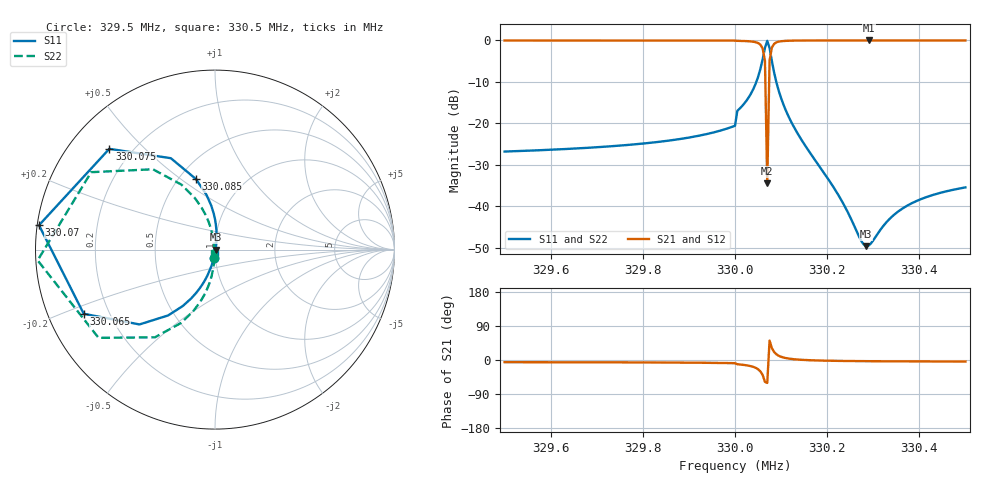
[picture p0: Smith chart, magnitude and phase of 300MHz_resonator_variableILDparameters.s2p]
! Sonnet Data File
! From: em Version : 16.56
! From Project: 300MHz_resonator_fullcapacitor_plus_inductorwithGP_variableILDparameters
! Data is from a network
! Data File Written: 03/28/2020 00:44:00
!< HDATE 03/06/2020 17:38:15
!< MDATE 03/27/2020 23:02:33
!< PARAMS
!< ILD_thickness = 0.3
!< ILD_dielectric_constant = 3.9
!< END PARAMS
# MHZ S RI R 50.00000
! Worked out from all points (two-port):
!   201 points, 329.5 MHz to 330.5 MHz, reference 50 ohm
!   highest |S21| = 0.00 dB at 330.29 MHz (marker M1); lowest = -34.5 dB at 330.07 MHz (marker M2)
!   |S21| within 3 dB of the highest: start of sweep to 330.0618 MHz; 330.078 MHz to end of sweep
!   lowest |S11| = -49.7 dB at 330.285 MHz (marker M3), VSWR 1.01, Z = 50.3 - j0.0372 ohm
!   |S11| at or under -10 dB: start of sweep to 330.0463 MHz; 330.0896 MHz to end of sweep
!   |S22| runs from -49.6 to -0.1 dB; largest |S21 - S12| = 1e-12
!   S11 on the Smith chart (normalised r, x): 329.5 MHz: 0.98, -0.09; 330.065 MHz: 0.11, -0.23; 330.07 MHz: 0.01, +0.07; 330.075 MHz: 0.12, +0.40; 330.085 MHz: 0.61, +0.57; 330.5 MHz: 1.00, -0.03
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329.5  -0.00578 -0.0452  0.994 -0.0997  0.994 -0.0997  -0.00332 -0.0455
329.67  -0.00692 -0.0497  0.9933 -0.1043  0.9933 -0.1043  -0.00356 -0.0501
329.835  -0.00943 -0.059  0.9917 -0.1138  0.9917 -0.1138  -0.00419 -0.0596
330  -0.0197 -0.0913  0.9847 -0.1469  0.9847 -0.1469  -0.00788 -0.0931
330.005  -0.0381 -0.1361  0.9708 -0.1931  0.9708 -0.1931  -0.0171 -0.1403
330.03  -0.0703 -0.1941  0.9446 -0.2539  0.9446 -0.2539  -0.0371 -0.2031
330.05  -0.179 -0.3139  0.8487 -0.3834  0.8487 -0.3834  -0.1195 -0.3411
330.06  -0.4208 -0.4169  0.619 -0.5094  0.619 -0.5094  -0.3348 -0.4887
330.065  -0.7313 -0.3576  0.3052 -0.4811  0.3052 -0.4811  -0.6488 -0.4916
330.07  -0.9806 0.1357  0.0093 -0.0165  0.0093 -0.0165  -0.9882 -0.0599
330.075  -0.5887 0.5615  0.3559 0.4444  0.3559 0.4444  -0.6898 0.4314
330.08  -0.2461 0.5092  0.7009 0.4264  0.7009 0.4264  -0.3459 0.4475
330.085  -0.106 0.393  0.8514 0.325  0.8514 0.325  -0.1867 0.3618
330.095  -0.0209 0.245  0.9504 0.1866  0.9504 0.1866  -0.0748 0.2343
330.115  0.00656 0.1249  0.9894 0.0701  0.9894 0.0701  -0.0246 0.1226
330.17  0.00763 0.0377  0.9991 -0.0162  0.9991 -0.0162  -0.00651 0.038
330.225  0.00506 0.0124  0.999 -0.0416  0.999 -0.0416  -0.00406 0.0128
330.285  0.00327 -0.000369  0.9985 -0.0545  0.9985 -0.0545  -0.00331 -1.3e-05
330.29  0.00315 -0.00112  0.9985 -0.0552  0.9985 -0.0552  -0.00327 -0.000766
330.335  0.00227 -0.00659  0.9981 -0.0607  0.9981 -0.0607  -0.00306 -0.00627
330.4  0.00136 -0.0118  0.9977 -0.0661  0.9977 -0.0661  -0.00292 -0.0116
330.5  0.000449 -0.0168  0.9973 -0.0711  0.9973 -0.0711  -0.00284 -0.0166
